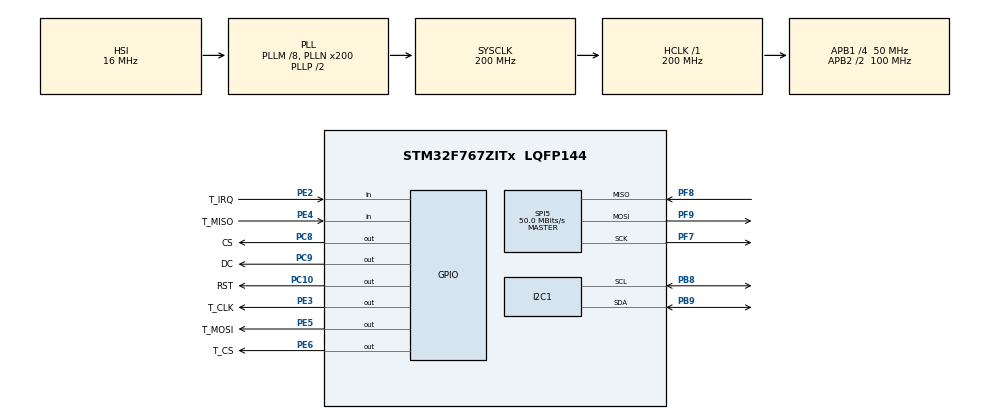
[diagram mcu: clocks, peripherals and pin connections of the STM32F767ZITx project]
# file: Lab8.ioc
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CORTEX_M7.ART_ACCELERATOR_ENABLE=1
CORTEX_M7.CPU_DCache=Enabled
CORTEX_M7.CPU_ICache=Enabled
CORTEX_M7.MPU_Control=__NULL
CORTEX_M7.PREFETCH_ENABLE=1
I2C1.Timing=0x00C0EAFF
Mcu.Family=STM32F7
Mcu.Name=STM32F767ZITx
Mcu.Package=LQFP144
NVIC.PriorityGroup=NVIC_PRIORITYGROUP_2
NVIC.TIM1_UP_TIM10_IRQn=true\:0\:0\:false\:false\:true\:true\:true\:true
PB8.Mode=I2C
PB8.Signal=I2C1_SCL
PB9.Mode=I2C
PB9.Signal=I2C1_SDA
PC10.GPIO_Label=RST
PC10.Signal=GPIO_Output
PC8.GPIO_Label=CS
PC8.Signal=GPIO_Output
PC9.GPIO_Label=DC
PC9.Signal=GPIO_Output
PE2.GPIO_Label=T_IRQ
PE2.Signal=GPIO_Input
PE3.GPIO_Label=T_CLK
PE3.Signal=GPIO_Output
PE4.GPIO_Label=T_MISO
PE4.Signal=GPIO_Input
PE5.GPIO_Label=T_MOSI
PE5.Signal=GPIO_Output
PE6.GPIO_Label=T_CS
PE6.Signal=GPIO_Output
PF7.Mode=Full_Duplex_Master
PF7.Signal=SPI5_SCK
PF8.Mode=Full_Duplex_Master
PF8.Signal=SPI5_MISO
PF9.Mode=Full_Duplex_Master
PF9.Signal=SPI5_MOSI
ProjectManager.HeapSize=0x200
ProjectManager.StackSize=0x400
ProjectManager.TargetToolchain=STM32CubeIDE
RCC.AHBFreq_Value=200000000
RCC.APB1CLKDivider=RCC_HCLK_DIV4
RCC.APB1Freq_Value=50000000
RCC.APB1TimFreq_Value=100000000
RCC.APB2CLKDivider=RCC_HCLK_DIV2
RCC.APB2Freq_Value=100000000
RCC.APB2TimFreq_Value=200000000
RCC.CortexFreq_Value=200000000
RCC.HCLKFreq_Value=200000000
RCC.HSE_Timout=200
RCC.HSE_VALUE=200000000
RCC.HSI_VALUE=16000000
RCC.LSE_VALUE=32768
RCC.PLLM=8
RCC.PLLN=200
RCC.PLLQ=9
RCC.SYSCLKFreq_VALUE=200000000
RCC.SYSCLKSource=RCC_SYSCLKSOURCE_PLLCLK
RCC.USBFreq_Value=44444444.44444445
RCC.VCOOutputFreq_Value=400000000
SPI5.CalculateBaudRate=50.0 MBits/s
SPI5.DataSize=SPI_DATASIZE_8BIT
SPI5.Direction=SPI_DIRECTION_2LINES
SPI5.Mode=SPI_MODE_MASTER
SPI5.VirtualType=VM_MASTER
TIM1.ClockDivision=TIM_CLOCKDIVISION_DIV1
TIM1.Period=1000-1
TIM1.Prescaler=216-1
VP_RNG_VS_RNG.Mode=RNG_Activate
VP_TIM1_VS_ClockSourceINT.Mode=Internal
board=custom

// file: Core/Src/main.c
/* USER CODE BEGIN Header */
/**
  ******************************************************************************
  * @file           : main.c
  * @brief          : Main program body
  ******************************************************************************
  * @attention
  *
  * <h2><center>&copy; Copyright (c) 2021 STMicroelectronics.
  * All rights reserved.</center></h2>
  *
  * This software component is licensed by ST under BSD 3-Clause license,
  * the "License"; You may not use this file except in compliance with the
  * License. You may obtain a copy of the License at:
  *                        opensource.org/licenses/BSD-3-Clause
  *
  ******************************************************************************
  */
/* USER CODE END Header */
#include "main.h"
#include "i2c.h"
#include "rng.h"
#include "spi.h"
#include "tim.h"
#include "gpio.h"

/* USER CODE BEGIN Includes */
#include "stdio.h"
#include <stdint.h> // Include this header for uint16_t

#include "ILI9341_Touchscreen.h"

#include "ILI9341_STM32_Driver.h"
#include "ILI9341_GFX.h"

#include "snow_tiger.h"
/* USER CODE END Includes */

/* USER CODE BEGIN PV */
/* Private variables ---------------------------------------------------------*/

uint32_t progress = 0;
extern uint32_t count = 0;

uint32_t maxProgress = 100; // ค่า progress สูงสุด
uint32_t progressBarWidth = 0; // ความ�?ว้างของ progress bar
uint32_t progressBarHeight = 10; // ความสูงของ progress bar
uint32_t xStart = 10; // ตำ�?หน่งเริ่มต้น x ของ progress bar
uint32_t yStart = 50; // ตำ�?หน่งเริ่มต้น y ของ progress bar

float temp = 0;
float RH = 0;
uint16_t Red = 0 ;
uint16_t Green = 0;
uint16_t Blue = 0;

uint8_t ch2 = 0;
uint8_t state = 0;
uint8_t step = 0;
uint8_t cmdBuffer[3];
uint8_t dataBuffer[8];

uint32_t timestart = 0;
uint32_t timecurrent = 0;

uint16_t CRC16_2(uint8_t * , uint8_t);

/* USER CODE END PV */

void SystemClock_Config(void);
/* USER CODE BEGIN PFP */
/* Private function prototypes -----------------------------------------------*/

/* USER CODE END PFP */

/* USER CODE BEGIN 0 */

uint16_t RGB565(uint16_t R, uint16_t G, uint16_t B) {

		float Rr = (R * 255)/(float)100;
		float Gg = (G * 255)/(float)100;
		float Bb = (B * 255)/(float)100;

		// ปรับค่าสี R, G, B ให้อยู่ในช่วง 0-255
		    uint8_t R8 = (uint8_t)(Rr + 0.5);  // �?าร�?ปลงค่าทศนิยมเป็นจำนวนเต็ม
		    uint8_t G8 = (uint8_t)(Gg + 0.5);
		    uint8_t B8 = (uint8_t)(Bb + 0.5);

		    // ทำ�?ารลดขนาดค่าสี R, G, B เข้าให้เป็นช่วง 0-31
		    uint8_t R5 = (R8 * 31) / 255;
		    uint8_t G6 = (G8 * 63) / 255;
		    uint8_t B5 = (B8 * 31) / 255;

		    // คำนวณค่า RGB565
		    uint16_t RGB565 = ((R5 << 11) | (G6 << 5) | B5);

		    return RGB565;
}

/* USER CODE END 0 */

int main(void)
{

  /* Enable I-Cache---------------------------------------------------------*/
  SCB_EnableICache();

  /* Enable D-Cache---------------------------------------------------------*/
  SCB_EnableDCache();

  /* MCU Configuration--------------------------------------------------------*/

  /* Reset of all peripherals, Initializes the Flash interface and the Systick. */
  HAL_Init();

  /* Configure the system clock */
  SystemClock_Config();

  /* Initialize all configured peripherals */
  MX_GPIO_Init();
  MX_RNG_Init();
  MX_SPI5_Init();
  MX_TIM1_Init();
  MX_I2C1_Init();
  /* USER CODE BEGIN 2 */
  ILI9341_Init();//initial driver setup to drive ili9341
  HAL_TIM_Base_Start_IT (&htim1);
  /* USER CODE END 2 */

  /* Infinite loop */
  /* USER CODE BEGIN WHILE */
  ILI9341_Fill_Screen(WHITE);
  ILI9341_Set_Rotation(SCREEN_HORIZONTAL_1);

  cmdBuffer[0] = 0x03;
  cmdBuffer[1] = 0x00;
  cmdBuffer[2] = 0x04;

  ex1();

  //ex2();

  //ILI9341_Draw_Image(Image_Array, 2);
  while (1)
  {

    /* USER CODE END WHILE */

    /* USER CODE BEGIN 3 */

	  //---------------------------------------------------------- Ex 01

	  //ex1();

	 if (state == 0){
		 ex1();
		// HAL_Delay(1000);
	 }
	 else if (state == 1){

		 if(ch2 == 0){
			 ex2();
			 ch2+=1;
		 }
	if((count - timestart) > 5000 ){

		 state = 0;
		ILI9341_Fill_Screen(WHITE);
	}
	 if(TP_Touchpad_Pressed()){

		uint16_t x_pos1 = 0;
		uint16_t y_pos1 = 0;

		//HAL_GPIO_WritePin(GPIOB, LD3_Pin|LD2_Pin, GPIO_PIN_SET);

		uint16_t position_array[2];

		if(TP_Read_Coordinates(position_array) == TOUCHPAD_DATA_OK)
		{
		x_pos1 = position_array[0];
		y_pos1 = position_array[1];

//		char str = "";
//		sprintf(str,"%d", x_pos1);
//		 ILI9341_Draw_Text(str,135 , 180 , BLACK, 2, WHITE);
//		 str = "";
//		 sprintf(str,"%d", y_pos1);
//		 ILI9341_Draw_Text(str,135 , 200 , BLACK, 2, WHITE);

				if(x_pos1 > 115 && x_pos1 < 200){
					if(y_pos1 > 40 && y_pos1< 76){

					state = 0;
					ch2 = 0;
					ILI9341_Fill_Screen(WHITE);
					}
				}
			}
		else
		{
			//HAL_GPIO_WritePin(GPIOB, LD3_Pin|LD2_Pin, GPIO_PIN_RESET);
		}

	 	 }
	 }

  }
  /* USER CODE END 3 */
}

void SystemClock_Config(void)
{
  RCC_OscInitTypeDef RCC_OscInitStruct = {0};
  RCC_ClkInitTypeDef RCC_ClkInitStruct = {0};

  /** Configure the main internal regulator output voltage
  */
  __HAL_RCC_PWR_CLK_ENABLE();
  __HAL_PWR_VOLTAGESCALING_CONFIG(PWR_REGULATOR_VOLTAGE_SCALE1);

  /** Initializes the RCC Oscillators according to the specified parameters
  * in the RCC_OscInitTypeDef structure.
  */
  RCC_OscInitStruct.OscillatorType = RCC_OSCILLATORTYPE_HSI;
  RCC_OscInitStruct.HSIState = RCC_HSI_ON;
  RCC_OscInitStruct.HSICalibrationValue = RCC_HSICALIBRATION_DEFAULT;
  RCC_OscInitStruct.PLL.PLLState = RCC_PLL_ON;
  RCC_OscInitStruct.PLL.PLLSource = RCC_PLLSOURCE_HSI;
  RCC_OscInitStruct.PLL.PLLM = 8;
  RCC_OscInitStruct.PLL.PLLN = 200;
  RCC_OscInitStruct.PLL.PLLP = RCC_PLLP_DIV2;
  RCC_OscInitStruct.PLL.PLLQ = 9;
  RCC_OscInitStruct.PLL.PLLR = 2;
  if (HAL_RCC_OscConfig(&RCC_OscInitStruct) != HAL_OK)
  {
    Error_Handler();
  }

  /** Activate the Over-Drive mode
  */
  if (HAL_PWREx_EnableOverDrive() != HAL_OK)
  {
    Error_Handler();
  }

  /** Initializes the CPU, AHB and APB buses clocks
  */
  RCC_ClkInitStruct.ClockType = RCC_CLOCKTYPE_HCLK|RCC_CLOCKTYPE_SYSCLK
                              |RCC_CLOCKTYPE_PCLK1|RCC_CLOCKTYPE_PCLK2;
  RCC_ClkInitStruct.SYSCLKSource = RCC_SYSCLKSOURCE_PLLCLK;
  RCC_ClkInitStruct.AHBCLKDivider = RCC_SYSCLK_DIV1;
  RCC_ClkInitStruct.APB1CLKDivider = RCC_HCLK_DIV4;
  RCC_ClkInitStruct.APB2CLKDivider = RCC_HCLK_DIV2;

  if (HAL_RCC_ClockConfig(&RCC_ClkInitStruct, FLASH_LATENCY_6) != HAL_OK)
  {
    Error_Handler();
  }
}

/* USER CODE BEGIN 4 */

uint16_t CRC16_2(uint8_t *ptr, uint8_t lenght){
	uint16_t crc = 0xffff;
	uint8_t s = 0x00;

	while (lenght--){
		crc ^= *ptr++;

		for (s = 0 ; s <8 ;s++){
			if ((crc & 0x01) != 0){
				crc >>= 1;
				crc ^= 0xA001;

			}
			else{
				crc >>= 1;
			}
		}
	}
	return crc;
}

void updateSensor(){
			HAL_I2C_Master_Transmit(&hi2c1, 0x5c << 1 , cmdBuffer, 3, 200);
		  	HAL_I2C_Master_Transmit(&hi2c1, 0x5c << 1 , cmdBuffer, 3, 200);
		  	HAL_Delay(1);
		  	// receive sensor data
		  	HAL_I2C_Master_Receive(&hi2c1, 0x5c << 1 , dataBuffer , 8, 200);
		  	uint16_t Rcrc = dataBuffer[7] << 8 ;
		  	Rcrc += dataBuffer[6];
		  	if (Rcrc == CRC16_2(dataBuffer,6)){
		  		uint16_t temperature = ((dataBuffer[4] & 0x7F) << 8 ) + dataBuffer[5];
		  		temp = temperature  / 10.0 ;
		  		temp = (((dataBuffer[4] & 0x80) >> 7 ) == 1)? (temp * (-1)) : temp ;

		  		uint16_t humi = (dataBuffer[2] << 8) + dataBuffer[3] ;
		  		RH = humi / 10.0 ;
		  	}
}

void ex1(){
	updateSensor();

		  unsigned short int color = RGB565(Red,Green,Blue);
		  char strcolor[]="";

				    		    sprintf(strcolor,"%d",color);

				    		    ILI9341_Draw_Text(strcolor, 120, 60, BLACK, 2, WHITE);

		  	  	char s[] = "";

		  	  	sprintf(s,"%.1f C",temp);

		  	  	ILI9341_Draw_Text(s, 20, 30, BLACK, 2, WHITE);

		  	  	ILI9341_Draw_Filled_Circle(135, 35, 27,color );

		  	  sprintf(s,"%.1f %%RH",RH);

		  	  	ILI9341_Draw_Text(s, 170, 30, BLACK, 2, WHITE);

		  		ILI9341_Draw_Filled_Circle(60, 85, 20, RED);

		  		ILI9341_Draw_Filled_Rectangle_Coord(90, 75, 190, 95, 0xFDD7);

		  		ILI9341_Draw_Filled_Rectangle_Coord(90, 75, Red+90, 95, RED);

		  		char str[] ="";
		  		sprintf(str,"%d %%",Red);

		  		ILI9341_Draw_Text(str, 200, 75, BLACK, 2, WHITE);

		  		////////////////

		  		ILI9341_Draw_Filled_Circle(60, 145, 20, GREEN);

		  		ILI9341_Draw_Filled_Rectangle_Coord(90, 135, 190, 155, 0xCFF8);

		  		ILI9341_Draw_Filled_Rectangle_Coord(90, 135, Green+90, 155, GREEN);

		  		sprintf(str,"%d %%",Green);

		  		ILI9341_Draw_Text(str, 200, 135, BLACK, 2, WHITE);

		  		//////

		  		ILI9341_Draw_Filled_Circle(60, 205, 20, BLUE);

		  		ILI9341_Draw_Filled_Rectangle_Coord(90, 195, 190, 215, 0xCE7F);

		  		ILI9341_Draw_Filled_Rectangle_Coord(90, 195, Blue+90, 215, BLUE);

		  		sprintf(str,"%d %%",Blue);
		  		ILI9341_Draw_Text(str, 200, 195, BLACK, 2, WHITE);

		  		if(TP_Touchpad_Pressed()){

					uint16_t x_pos = 0;
					uint16_t y_pos = 0;

					//HAL_GPIO_WritePin(GPIOB, LD3_Pin|LD2_Pin, GPIO_PIN_SET);

					uint16_t position_array[2];

					if(TP_Read_Coordinates(position_array) == TOUCHPAD_DATA_OK)
					{
					x_pos = position_array[0];
					y_pos = position_array[1];

					if (x_pos > 200 && x_pos < 222) {
						if (y_pos > 115 && y_pos < 157 ){
							state = 1;
							ch2 = 0;
							timestart = count;

						}
					}

					// RED

					if (x_pos > 135 && x_pos < 160) {
						if (y_pos > 40 && y_pos < 70 ){
							Red += 10;

							if (Red > 100){
								Red = 0;
								ILI9341_Draw_Filled_Rectangle_Coord(90, 75, 300, 95, WHITE);

							}
						}
					}

					else if (x_pos > 80 && x_pos < 100) {
						if (y_pos > 40 && y_pos < 70 ){

							Green += 10;

							if (Green > 100){
								Green = 0;

								ILI9341_Draw_Filled_Rectangle_Coord(90, 135, 300, 155, WHITE);
							}

						}
					}
					else if (x_pos > 20 && x_pos < 50) {
							if (y_pos > 40 && y_pos < 70 ){
								Blue += 10;

								if (Blue > 100){
									Blue = 0;

									ILI9341_Draw_Filled_Rectangle_Coord(90, 195, 300, 215, WHITE);
								}
							}
						}

					}

		  }

}

void ex2(){

	  ILI9341_Draw_Image((const char*) snow_tiger, SCREEN_HORIZONTAL_1);

	  ILI9341_Draw_Text("Group No.18",135 , 70 , BLACK, 2, WHITE);

	  ILI9341_Draw_Text("PITPIBUL",135 , 100 , BLACK, 2, WHITE);

	  ILI9341_Draw_Text("PHONGPHOTJANATHAM",135 , 130 , BLACK, 1, WHITE);

	  ILI9341_Draw_Text("64010591",135 , 160 , BLACK, 2, WHITE);

}

/* USER CODE END 4 */

void Error_Handler(void)
{
  while(1)
  {
  }
}
